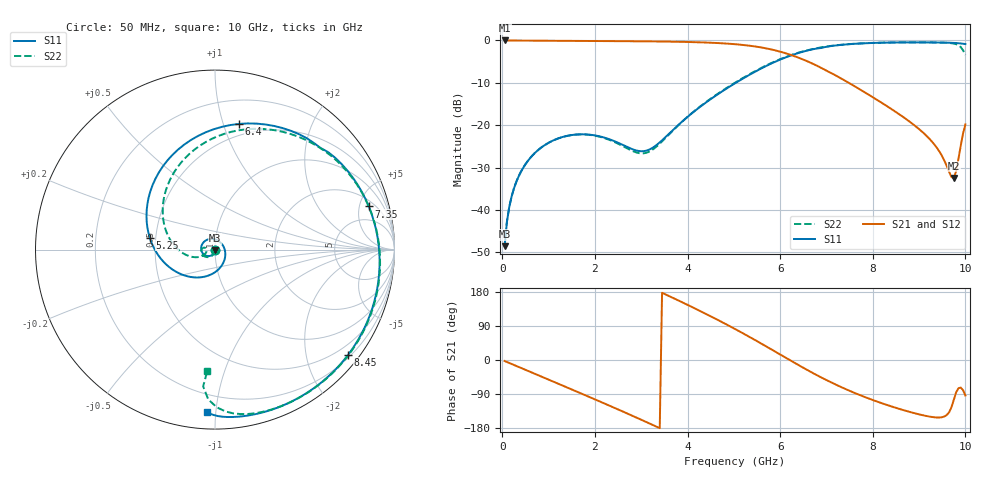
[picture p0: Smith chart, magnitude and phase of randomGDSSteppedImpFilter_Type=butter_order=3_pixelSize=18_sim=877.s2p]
! freq	dB(S11)	phase(S11)	dB(S12)	phase(S12)
!  dB(S21)	phase(S21)	dB(S22)	phase(S22)
!S-par simulation data
#  GHz  S  DB  R 50
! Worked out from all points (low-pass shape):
!   200 points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, 50 MHz to 10 GHz, reference 50 ohm
!   highest |S21| = 0.00 dB at 50 MHz (marker M1); lowest = -32.4 dB at 9.75 GHz (marker M2)
!   |S21| within 3 dB of the highest: start of sweep to 6.114 GHz
!   lowest |S11| = -48.5 dB at 50 MHz (marker M3), VSWR 1.01, Z = 50 - j0.374 ohm
!   |S11| at or under -10 dB: start of sweep to 5.041 GHz
!   |S22| runs from -48.5 to -0.4 dB; largest |S21 - S12| = 0
!   S11 on the Smith chart (normalised r, x): 50 MHz: 1.00, -0.01; 5.25 GHz: 0.46, +0.07; 6.4 GHz: 0.40, +1.13; 7.35 GHz: 2.66, +6.15; 8.45 GHz: 0.26, -2.85; 10 GHz: 0.09, -0.95
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0.05  -48.53 -87.3  -0.00 -2.6  -0.00 -2.6  -48.50 -87.0
0.1  -42.76 -92.7  -0.01 -5.2  -0.01 -5.2  -42.74 -91.8
0.2  -36.86 -100.1  -0.02 -10.4  -0.02 -10.4  -36.84 -98.3
0.5  -29.21 -118.6  -0.04 -25.9  -0.04 -25.9  -29.19 -113.9
1.15  -23.35 -156.9  -0.09 -59.5  -0.09 -59.5  -23.35 -144.6
1.75  -22.14 165.4  -0.13 -90.7  -0.13 -90.7  -22.18 -170.1
2.5  -24.13 105.5  -0.17 -130.4  -0.17 -130.4  -24.35 169.6
3  -26.13 39.6  -0.20 -157.6  -0.20 -157.6  -26.64 -177.4
3.4  -24.04 -23.9  -0.25 -179.9  -0.25 -179.9  -24.34 -156.4
3.85  -19.46 -75.7  -0.32 154.4  -0.32 154.4  -19.48 -156.6
4.35  -15.02 -119.2  -0.47 124.6  -0.47 124.6  -14.92 -173.5
5.05  -9.94 -174.6  -0.91 80.3  -0.91 80.3  -9.80 152.0
5.25  -8.65 169.7  -1.13 66.9  -1.13 66.9  -8.51 140.8
5.85  -5.23 122.0  -2.23 25.2  -2.23 25.2  -5.13 104.5
6.4  -2.94 79.3  -4.08 -13.7  -4.08 -13.7  -2.87 69.5
6.7  -2.09 57.3  -5.47 -34.0  -5.47 -34.0  -2.03 50.9
7.35  -1.01 15.7  -9.17 -73.3  -9.17 -73.3  -0.99 14.2
8.35  -0.50 -34.2  -15.80 -120.4  -15.80 -120.4  -0.49 -30.8
8.45  -0.49 -38.4  -16.52 -124.4  -16.52 -124.4  -0.48 -34.7
9.25  -0.47 -68.6  -23.52 -149.9  -23.52 -149.9  -0.46 -63.5
9.75  -0.58 -85.6  -32.44 -105.0  -32.44 -105.0  -0.74 -83.5
10  -0.85 -92.9  -19.81 -93.8  -19.81 -93.8  -3.41 -93.6
